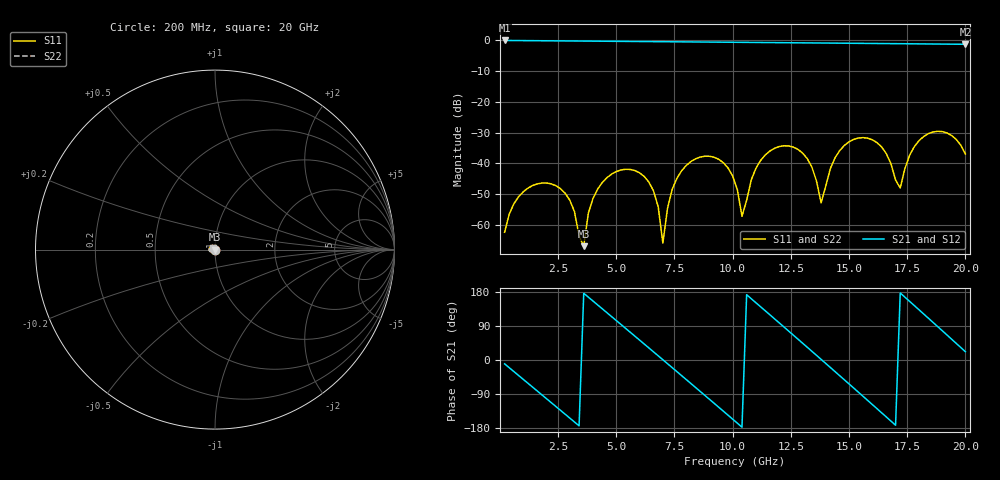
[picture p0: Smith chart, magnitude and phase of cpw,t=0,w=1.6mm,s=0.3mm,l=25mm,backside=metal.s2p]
# HZ S RI R 50
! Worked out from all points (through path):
!   100 points, 200 MHz to 20 GHz, reference 50 ohm
!   highest |S21| = -0.01 dB at 200 MHz (marker M1); lowest = -1.3 dB at 20 GHz (marker M2)
!   group delay of S21, straight-line fit = 147 ps
!   lowest |S11| = -67.0 dB at 3.6 GHz (marker M3), VSWR 1.00, Z = 50 - j0.0409 ohm
!   |S11| at or under -10 dB: start of sweep to end of sweep
!   |S22| runs from -67.0 to -29.6 dB; largest |S21 - S12| = 0
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2e8  -0.000139 -0.000739  0.9829 -0.1769  0.9829 -0.1769  -0.000139 -0.000739
1.8e9  -0.00475 0.000152  -0.032 -0.9874  -0.032 -0.9874  -0.00475 0.000152
3e9  -0.00122 0.00219  -0.8749 -0.4415  -0.8749 -0.4415  -0.00122 0.00219
3.6e9  -0.000176 -0.00041  -0.9736 0.0676  -0.9736 0.0676  -0.000176 -0.00041
4e9  -0.00126 -0.00237  -0.8857 0.4036  -0.8857 0.4036  -0.00126 -0.00237
5e9  -0.00711 -0.00172  -0.2352 0.9376  -0.2352 0.9376  -0.00711 -0.00172
6.2e9  -0.00429 0.00432  0.7109 0.6432  0.7109 0.6432  -0.00429 0.00432
6.8e9  -0.000806 0.00178  0.937 0.1832  0.937 0.1832  -0.000806 0.00178
7e9  -0.000488 0.000116  0.9533 0.0114  0.9533 0.0114  -0.000488 0.000116
7.6e9  -0.00329 -0.0046  0.818 -0.4819  0.818 -0.4819  -0.00329 -0.0046
8.6e9  -0.0125 -0.00151  0.1202 -0.9349  0.1202 -0.9349  -0.0125 -0.00151
1.02e10  -0.00185 0.00323  -0.9069 -0.2149  -0.9069 -0.2149  -0.00185 0.00323
1.04e10  -0.00117 0.000713  -0.9296 -0.0451  -0.9296 -0.0451  -0.00117 0.000713
1.1e10  -0.00496 -0.00663  -0.8109 0.4483  -0.8109 0.4483  -0.00496 -0.00663
1.2e10  -0.0185 -0.00238  -0.1276 0.9108  -0.1276 0.9108  -0.0185 -0.00238
1.34e10  -0.00506 0.0071  0.8371 0.3579  0.8371 0.3579  -0.00506 0.0071
1.38e10  -0.00219 0.000587  0.9073 0.0262  0.9073 0.0262  -0.00219 0.000587
1.52e10  -0.0237 -0.00602  0.248 -0.863  0.248 -0.863  -0.0237 -0.00602
1.68e10  -0.00608 0.00776  -0.8396 -0.2866  -0.8396 -0.2866  -0.00608 0.00776
1.72e10  -0.0037 -0.0014  -0.8831 0.0477  -0.8831 0.0477  -0.0037 -0.0014
1.86e10  -0.0319 -0.00472  -0.1479 0.8617  -0.1479 0.8617  -0.0319 -0.00472
2e10  -0.0094 0.0106  0.8023 0.3231  0.8023 0.3231  -0.0094 0.0106
